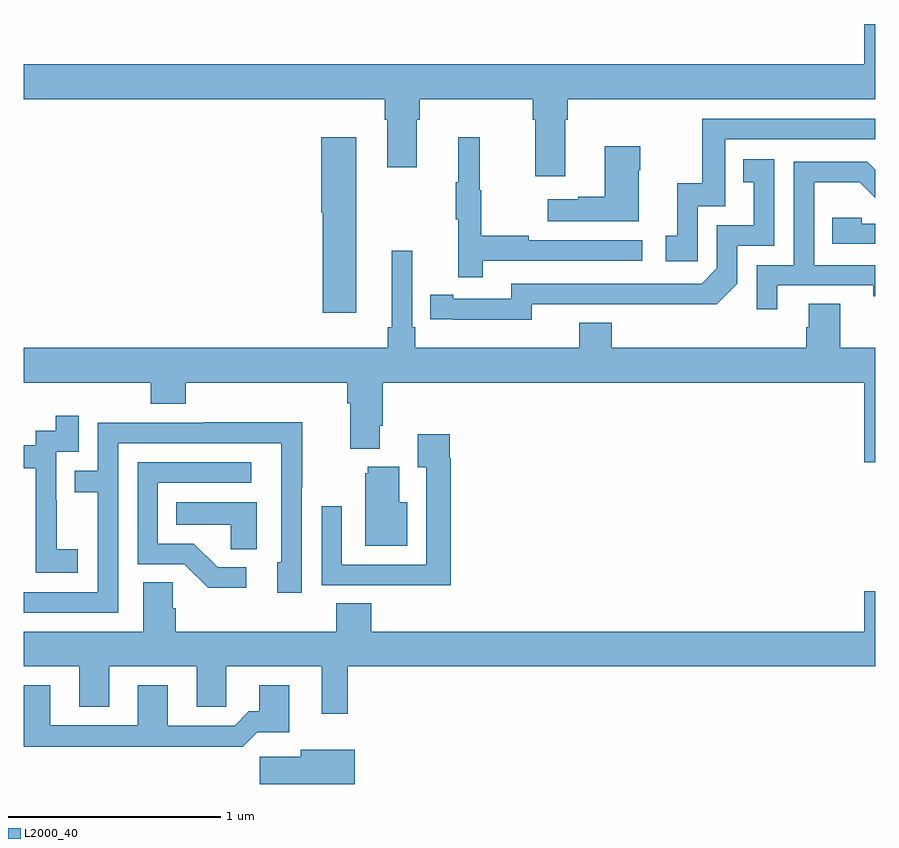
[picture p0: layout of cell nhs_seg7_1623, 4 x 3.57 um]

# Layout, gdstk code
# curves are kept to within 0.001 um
import gdstk
lib = gdstk.Library(unit=1e-6, precision=1e-09)
def P(c, l, *ps):  # polygons
    for p in ps: c.add(gdstk.Polygon(p, *l))
L2000_40 = (2000, 40)

nhs_seg7_1623 = lib.new_cell('nhs_seg7_1623')
P(nhs_seg7_1623, L2000_40, [(223.543,1043.144),(223.556,1043.144),(223.556,1043.24),(225,1043.24),(225,1043.593),(224.948,1043.593),(224.948,1043.404),(221,1043.404),(221,1043.24),(222.695,1043.24),(222.695,1043.144),(222.707,1043.144),(222.707,1042.92),(222.847,1042.92),(222.847,1043.144),(222.86,1043.144),(222.86,1043.24),(223.391,1043.24),(223.391,1043.144),(223.403,1043.144),(223.403,1042.878),(223.543,1042.878)],
  [(224.166,1042.737),(224.295,1042.737),(224.295,1043.052),(225,1043.052),(225,1043.148),(224.187,1043.148),(224.187,1042.846),(224.069,1042.846),(224.069,1042.599),(224.016,1042.599),(224.016,1042.478),(224.166,1042.478)],
  [(222.562,1043.062),(222.398,1043.062),(222.398,1042.71),(222.404,1042.71),(222.404,1042.236),(222.562,1042.236)],
  [(223.157,1042.482),(223.906,1042.482),(223.906,1042.578),(223.373,1042.578),(223.373,1042.598),(223.15,1042.598),(223.15,1042.812),(223.142,1042.812),(223.142,1043.062),(223.04,1043.062),(223.04,1042.849),(223.029,1042.849),(223.029,1042.675),(223.04,1042.675),(223.04,1042.404),(223.157,1042.404)],
  [(223.888,1042.907),(223.896,1042.907),(223.896,1043.02),(223.73,1043.02),(223.73,1042.781),(223.604,1042.781),(223.604,1042.771),(223.461,1042.771),(223.461,1042.667),(223.888,1042.667)],
  [(223.386,1042.278),(224.254,1042.277),(224.352,1042.374),(224.352,1042.551),(224.526,1042.551),(224.526,1042.957),(224.38,1042.957),(224.38,1042.851),(224.429,1042.851),(224.429,1042.647),(224.256,1042.647),(224.256,1042.446),(224.184,1042.374),(223.29,1042.374),(223.29,1042.302),(223.018,1042.302),(223.018,1042.322),(222.91,1042.322),(222.91,1042.206),(223.386,1042.205)],
  [(224.539,1042.365),(224.99,1042.365),(224.99,1042.314),(225,1042.314),(225,1042.461),(224.712,1042.461),(224.712,1042.85),(224.926,1042.85),(225,1042.776),(225,1042.909),(224.962,1042.947),(224.616,1042.947),(224.616,1042.461),(224.442,1042.461),(224.442,1042.254),(224.539,1042.254)],
  [(225,1042.656),(224.937,1042.656),(224.937,1042.683),(224.797,1042.683),(224.797,1042.56),(225,1042.56)],
  [(225,1042.072),(224.835,1042.072),(224.835,1042.28),(224.687,1042.28),(224.687,1042.17),(224.675,1042.17),(224.675,1042.072),(223.763,1042.072),(223.763,1042.189),(223.61,1042.189),(223.61,1042.072),(222.839,1042.072),(222.839,1042.168),(222.825,1042.168),(222.825,1042.528),(222.728,1042.528),(222.728,1042.168),(222.709,1042.168),(222.709,1042.072),(221,1042.072),(221,1041.908),(221.597,1041.908),(221.597,1041.809),(221.762,1041.809),(221.762,1041.908),(222.521,1041.908),(222.521,1041.812),(222.533,1041.812),(222.533,1041.599),(222.673,1041.599),(222.673,1041.706),(222.686,1041.706),(222.686,1041.908),(224.948,1041.908),(224.948,1041.534),(225,1041.534)],
  [(221.254,1041.127),(221.156,1041.127),(221.156,1041.356),(221.154,1041.356),(221.154,1041.585),(221.259,1041.585),(221.259,1041.754),(221.151,1041.754),(221.151,1041.684),(221.058,1041.684),(221.058,1041.615),(221,1041.615),(221,1041.507),(221.057,1041.507),(221.057,1041.223),(221.056,1041.223),(221.056,1041.017),(221.254,1041.017)],
  [(221.445,1041.624),(222.21,1041.624),(222.21,1041.066),(222.191,1041.066),(222.191,1040.922),(222.306,1040.922),(222.306,1041.415),(222.309,1041.415),(222.309,1041.722),(221.845,1041.722),(221.845,1041.72),(221.349,1041.72),(221.349,1041.495),(221.239,1041.495),(221.239,1041.394),(221.349,1041.394),(221.349,1040.925),(221,1040.925),(221,1040.829),(221.445,1040.829)],
  [(223.007,1041.554),(223,1041.554),(223,1041.667),(222.851,1041.667),(222.851,1041.511),(222.891,1041.511),(222.891,1041.054),(222.495,1041.054),(222.495,1041.328),(222.399,1041.328),(222.399,1040.958),(222.715,1040.958),(222.715,1040.957),(223.007,1040.957)],
  [(222.046,1041.042),(221.911,1041.042),(221.8,1041.153),(221.631,1041.153),(221.631,1041.438),(222.07,1041.438),(222.07,1041.534),(221.535,1041.534),(221.535,1041.057),(221.754,1041.057),(221.867,1040.945),(222.046,1040.945)],
  [(222.802,1041.346),(222.763,1041.346),(222.763,1041.514),(222.617,1041.514),(222.617,1041.483),(222.605,1041.483),(222.605,1041.143),(222.802,1041.143)],
  [(222.094,1041.346),(221.716,1041.346),(221.716,1041.242),(221.973,1041.242),(221.973,1041.127),(222.094,1041.127)],
  [(222.523,1040.576),(225,1040.576),(225,1040.929),(224.948,1040.929),(224.948,1040.74),(222.632,1040.74),(222.632,1040.873),(222.467,1040.873),(222.467,1040.74),(221.714,1040.74),(221.714,1040.849),(221.7,1040.849),(221.7,1040.972),(221.561,1040.972),(221.561,1040.74),(221,1040.74),(221,1040.576),(221.261,1040.576),(221.261,1040.386),(221.401,1040.386),(221.401,1040.576),(221.813,1040.576),(221.813,1040.386),(221.952,1040.386),(221.952,1040.576),(222.401,1040.576),(222.401,1040.355),(222.523,1040.355)],
  [(222.098,1040.267),(222.247,1040.267),(222.247,1040.488),(222.107,1040.488),(222.107,1040.365),(222.058,1040.365),(221.991,1040.298),(221.677,1040.298),(221.677,1040.488),(221.537,1040.488),(221.537,1040.301),(221.125,1040.301),(221.125,1040.488),(221,1040.488),(221,1040.2),(221.773,1040.2),(221.773,1040.198),(222.029,1040.198)],
  [(222.556,1040.185),(222.302,1040.185),(222.302,1040.153),(222.108,1040.153),(222.108,1040.024),(222.556,1040.024)])

lib.write_gds('nhs_seg7_1623.gds')
